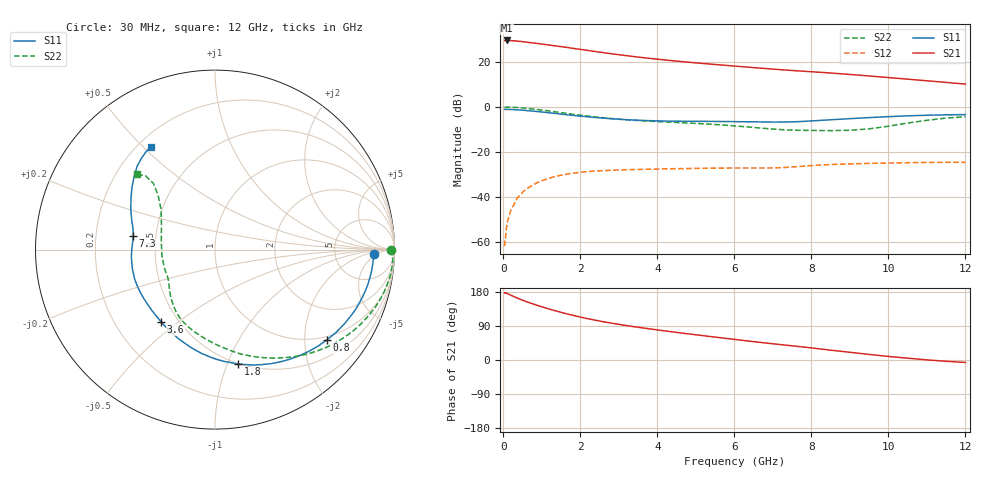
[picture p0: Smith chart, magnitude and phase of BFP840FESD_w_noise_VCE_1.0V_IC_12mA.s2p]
! Infineon Technologies  Discrete & RF Semiconductors
! BFP840FESD
! VCE =  1.0 V,  IC =  12 mA
! Common Emitter S-Parameters:  May 2012
# GHz  S  MA  R  50
!  f  S11  S21  S12  S22
! GHz  MAG  ANG  MAG  ANG  MAG  ANG  MAG  ANG
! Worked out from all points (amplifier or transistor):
!   103 points, 30 MHz to 12 GHz, reference 50 ohm
!   highest |S21| = 29.6 dB at 80 MHz (marker M1)
!   |S21| within 3 dB of that: start of sweep to 1.613 GHz
!   unconditionally stable (mu >= 1): 6.259 GHz to end of sweep
!   at 400 MHz: K = 0.09, MSG = 34.5 dB, |S12| = -39.7 dB
!   at 3.7 GHz: K = 0.59, MSG = 24.8 dB, |S12| = -27.7 dB
!   at 12 GHz: K = 1.18, MAG = 14.8 dB, |S12| = -24.6 dB
!   lowest NFmin = 0.70 dB at 450 MHz
!   S11 on the Smith chart (normalised r, x): 30 MHz: 16, -3; 800 MHz: 0.91, -2.55; 1.8 GHz: 0.49, -1.09; 3.6 GHz: 0.40, -0.43; 7.3 GHz: 0.37, +0.07; 12 GHz: 0.25, +0.53
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0.03  0.884 -1.5  29.86 177.1  0.0008 111.0  0.9794 -0.1
0.04  0.8845 -2.0  29.93 176.7  0.0012 94.4  0.9843 -0.6
0.05  0.8828 -2.6  30.05 177.7  0.0012 114.8  0.9887 -1.1
0.08  0.883 -4.1  30.12 176.3  0.0021 76.4  0.9901 -2.6
0.25  0.8736 -12.9  29.67 168.3  0.0062 83.8  0.9833 -10.0
0.4  0.8571 -20.3  28.88 161.7  0.0103 78.3  0.9642 -16.0
0.6  0.8315 -29.8  27.6 153.8  0.015 71.6  0.9309 -23.4
0.8  0.8013 -38.8  26.38 146.8  0.0191 66.5  0.893 -30.5
1  0.7709 -47.4  24.99 140.3  0.0229 61.7  0.8516 -37.2
1.3  0.7234 -59.8  23.11 131.2  0.0277 55.2  0.7887 -46.7
1.6  0.6781 -71.5  21.41 123.0  0.0315 49.0  0.7276 -55.6
1.8  0.6508 -78.6  20.14 118.0  0.0336 45.4  0.6902 -61.2
2.1  0.6134 -88.6  18.54 110.9  0.0359 40.9  0.6406 -69.0
2.7  0.5546 -105.8  15.66 99.1  0.0386 34.0  0.5629 -82.3
3.6  0.5019 -126.8  12.57 84.9  0.0408 28.1  0.4923 -98.1
4.1  0.4877 -136.9  11.31 78.1  0.0418 26.2  0.4675 -105.3
5  0.4785 -152.9  9.556 66.5  0.043 24.2  0.4297 -116.6
6.1  0.4698 -170.0  7.991 53.2  0.0438 22.7  0.3734 -130.1
7.3  0.4621 170.7  6.645 39.5  0.045 26.2  0.3098 -147.0
8.5  0.5184 154.8  5.683 26.0  0.0524 25.7  0.2975 -173.1
10.5  0.6343 133.3  4.15 4.8  0.0575 20.6  0.4384 136.3
12  0.6752 122.0  3.223 -6.4  0.0586 19.7  0.6046 136.1
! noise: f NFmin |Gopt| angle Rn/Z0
0.45  0.7  0.26  5  0.14
0.9  0.73  0.26  11  0.14
1.5  0.75  0.24  16  0.14
1.9  0.75  0.22  26  0.14
2.4  0.76  0.2  35  0.14
3.5  0.77  0.19  59  0.14
5.5  0.82  0.12  111  0.12
8  0.93  0.12  175  0.12
10  1.06  0.24  -129  0.13
12  1.27  0.41  -111  0.15
